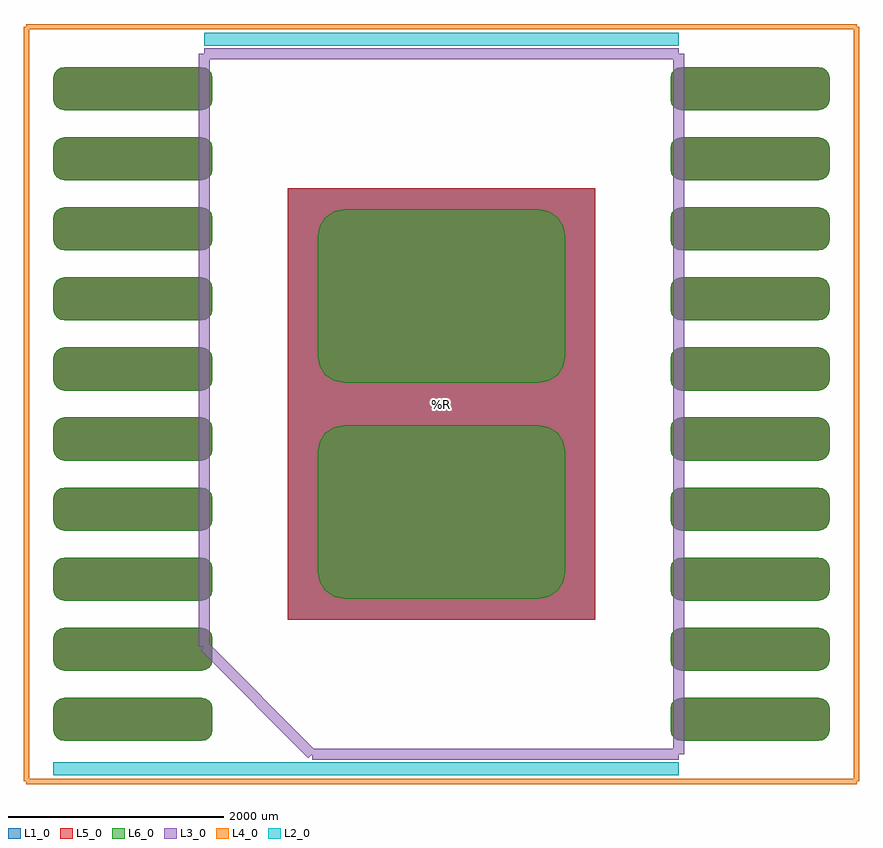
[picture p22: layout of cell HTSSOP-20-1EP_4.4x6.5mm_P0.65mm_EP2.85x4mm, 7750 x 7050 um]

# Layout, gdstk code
import gdstk
lib = gdstk.Library(unit=1e-6, precision=1e-09)
def R(c, l, rs):  # rectangles x0, y0, x1, y1
    for r in rs: c.add(gdstk.rectangle(r[:2], r[2:], *l))
def P(c, l, *ps):  # polygons
    for p in ps: c.add(gdstk.Polygon(p, *l))
L1_0 = (1, 0)
L2_0 = (2, 0)
L3_0 = (3, 0)
L4_0 = (4, 0)
L5_0 = (5, 0)
L6_0 = (6, 0)

htssop_20_1ep_4_4x6_5mm_ = lib.new_cell('HTSSOP-20-1EP_4.4x6.5mm_P0.65mm_EP2.85x4mm')
R(htssop_20_1ep_4_4x6_5mm_, L1_0, [(-1425,-2000,1425,2000)])
P(htssop_20_1ep_4_4x6_5mm_, L1_0, [(-2225,-3125),(-2187,-3117),(-2154,-3096),(-2133,-3063),(-2125,-3025),(-2125,-2825),(-2133,-2787),(-2154,-2754),(-2187,-2733),(-2225,-2725),(-3500,-2725),(-3538,-2733),(-3571,-2754),(-3592,-2787),(-3600,-2825),(-3600,-3025),(-3592,-3063),(-3571,-3096),(-3538,-3117),(-3500,-3125)],
  [(-2225,-2475),(-2187,-2467),(-2154,-2446),(-2133,-2413),(-2125,-2375),(-2125,-2175),(-2133,-2137),(-2154,-2104),(-2187,-2083),(-2225,-2075),(-3500,-2075),(-3538,-2083),(-3571,-2104),(-3592,-2137),(-3600,-2175),(-3600,-2375),(-3592,-2413),(-3571,-2446),(-3538,-2467),(-3500,-2475)],
  [(-2225,-1825),(-2187,-1817),(-2154,-1796),(-2133,-1763),(-2125,-1725),(-2125,-1525),(-2133,-1487),(-2154,-1454),(-2187,-1433),(-2225,-1425),(-3500,-1425),(-3538,-1433),(-3571,-1454),(-3592,-1487),(-3600,-1525),(-3600,-1725),(-3592,-1763),(-3571,-1796),(-3538,-1817),(-3500,-1825)],
  [(-2225,-1175),(-2187,-1167),(-2154,-1146),(-2133,-1113),(-2125,-1075),(-2125,-875),(-2133,-837),(-2154,-804),(-2187,-783),(-2225,-775),(-3500,-775),(-3538,-783),(-3571,-804),(-3592,-837),(-3600,-875),(-3600,-1075),(-3592,-1113),(-3571,-1146),(-3538,-1167),(-3500,-1175)],
  [(-2225,-525),(-2187,-517),(-2154,-496),(-2133,-463),(-2125,-425),(-2125,-225),(-2133,-187),(-2154,-154),(-2187,-133),(-2225,-125),(-3500,-125),(-3538,-133),(-3571,-154),(-3592,-187),(-3600,-225),(-3600,-425),(-3592,-463),(-3571,-496),(-3538,-517),(-3500,-525)],
  [(-2225,125),(-2187,133),(-2154,154),(-2133,187),(-2125,225),(-2125,425),(-2133,463),(-2154,496),(-2187,517),(-2225,525),(-3500,525),(-3538,517),(-3571,496),(-3592,463),(-3600,425),(-3600,225),(-3592,187),(-3571,154),(-3538,133),(-3500,125)],
  [(-2225,775),(-2187,783),(-2154,804),(-2133,837),(-2125,875),(-2125,1075),(-2133,1113),(-2154,1146),(-2187,1167),(-2225,1175),(-3500,1175),(-3538,1167),(-3571,1146),(-3592,1113),(-3600,1075),(-3600,875),(-3592,837),(-3571,804),(-3538,783),(-3500,775)],
  [(-2225,1425),(-2187,1433),(-2154,1454),(-2133,1487),(-2125,1525),(-2125,1725),(-2133,1763),(-2154,1796),(-2187,1817),(-2225,1825),(-3500,1825),(-3538,1817),(-3571,1796),(-3592,1763),(-3600,1725),(-3600,1525),(-3592,1487),(-3571,1454),(-3538,1433),(-3500,1425)],
  [(-2225,2075),(-2187,2083),(-2154,2104),(-2133,2137),(-2125,2175),(-2125,2375),(-2133,2413),(-2154,2446),(-2187,2467),(-2225,2475),(-3500,2475),(-3538,2467),(-3571,2446),(-3592,2413),(-3600,2375),(-3600,2175),(-3592,2137),(-3571,2104),(-3538,2083),(-3500,2075)],
  [(-2225,2725),(-2187,2733),(-2154,2754),(-2133,2787),(-2125,2825),(-2125,3025),(-2133,3063),(-2154,3096),(-2187,3117),(-2225,3125),(-3500,3125),(-3538,3117),(-3571,3096),(-3592,3063),(-3600,3025),(-3600,2825),(-3592,2787),(-3571,2754),(-3538,2733),(-3500,2725)],
  [(3500,2725),(3538,2733),(3571,2754),(3592,2787),(3600,2825),(3600,3025),(3592,3063),(3571,3096),(3538,3117),(3500,3125),(2225,3125),(2187,3117),(2154,3096),(2133,3063),(2125,3025),(2125,2825),(2133,2787),(2154,2754),(2187,2733),(2225,2725)],
  [(3500,2075),(3538,2083),(3571,2104),(3592,2137),(3600,2175),(3600,2375),(3592,2413),(3571,2446),(3538,2467),(3500,2475),(2225,2475),(2187,2467),(2154,2446),(2133,2413),(2125,2375),(2125,2175),(2133,2137),(2154,2104),(2187,2083),(2225,2075)],
  [(3500,1425),(3538,1433),(3571,1454),(3592,1487),(3600,1525),(3600,1725),(3592,1763),(3571,1796),(3538,1817),(3500,1825),(2225,1825),(2187,1817),(2154,1796),(2133,1763),(2125,1725),(2125,1525),(2133,1487),(2154,1454),(2187,1433),(2225,1425)],
  [(3500,775),(3538,783),(3571,804),(3592,837),(3600,875),(3600,1075),(3592,1113),(3571,1146),(3538,1167),(3500,1175),(2225,1175),(2187,1167),(2154,1146),(2133,1113),(2125,1075),(2125,875),(2133,837),(2154,804),(2187,783),(2225,775)],
  [(3500,125),(3538,133),(3571,154),(3592,187),(3600,225),(3600,425),(3592,463),(3571,496),(3538,517),(3500,525),(2225,525),(2187,517),(2154,496),(2133,463),(2125,425),(2125,225),(2133,187),(2154,154),(2187,133),(2225,125)],
  [(3500,-525),(3538,-517),(3571,-496),(3592,-463),(3600,-425),(3600,-225),(3592,-187),(3571,-154),(3538,-133),(3500,-125),(2225,-125),(2187,-133),(2154,-154),(2133,-187),(2125,-225),(2125,-425),(2133,-463),(2154,-496),(2187,-517),(2225,-525)],
  [(3500,-1175),(3538,-1167),(3571,-1146),(3592,-1113),(3600,-1075),(3600,-875),(3592,-837),(3571,-804),(3538,-783),(3500,-775),(2225,-775),(2187,-783),(2154,-804),(2133,-837),(2125,-875),(2125,-1075),(2133,-1113),(2154,-1146),(2187,-1167),(2225,-1175)],
  [(3500,-1825),(3538,-1817),(3571,-1796),(3592,-1763),(3600,-1725),(3600,-1525),(3592,-1487),(3571,-1454),(3538,-1433),(3500,-1425),(2225,-1425),(2187,-1433),(2154,-1454),(2133,-1487),(2125,-1525),(2125,-1725),(2133,-1763),(2154,-1796),(2187,-1817),(2225,-1825)],
  [(3500,-2475),(3538,-2467),(3571,-2446),(3592,-2413),(3600,-2375),(3600,-2175),(3592,-2137),(3571,-2104),(3538,-2083),(3500,-2075),(2225,-2075),(2187,-2083),(2154,-2104),(2133,-2137),(2125,-2175),(2125,-2375),(2133,-2413),(2154,-2446),(2187,-2467),(2225,-2475)],
  [(3500,-3125),(3538,-3117),(3571,-3096),(3592,-3063),(3600,-3025),(3600,-2825),(3592,-2787),(3571,-2754),(3538,-2733),(3500,-2725),(2225,-2725),(2187,-2733),(2154,-2754),(2133,-2787),(2125,-2825),(2125,-3025),(2133,-3063),(2154,-3096),(2187,-3117),(2225,-3125)])
R(htssop_20_1ep_4_4x6_5mm_, L5_0, [(-1425,-2000,1425,2000)])
P(htssop_20_1ep_4_4x6_5mm_, L5_0, [(-2225,-3125),(-2187,-3117),(-2154,-3096),(-2133,-3063),(-2125,-3025),(-2125,-2825),(-2133,-2787),(-2154,-2754),(-2187,-2733),(-2225,-2725),(-3500,-2725),(-3538,-2733),(-3571,-2754),(-3592,-2787),(-3600,-2825),(-3600,-3025),(-3592,-3063),(-3571,-3096),(-3538,-3117),(-3500,-3125)],
  [(-2225,-2475),(-2187,-2467),(-2154,-2446),(-2133,-2413),(-2125,-2375),(-2125,-2175),(-2133,-2137),(-2154,-2104),(-2187,-2083),(-2225,-2075),(-3500,-2075),(-3538,-2083),(-3571,-2104),(-3592,-2137),(-3600,-2175),(-3600,-2375),(-3592,-2413),(-3571,-2446),(-3538,-2467),(-3500,-2475)],
  [(-2225,-1825),(-2187,-1817),(-2154,-1796),(-2133,-1763),(-2125,-1725),(-2125,-1525),(-2133,-1487),(-2154,-1454),(-2187,-1433),(-2225,-1425),(-3500,-1425),(-3538,-1433),(-3571,-1454),(-3592,-1487),(-3600,-1525),(-3600,-1725),(-3592,-1763),(-3571,-1796),(-3538,-1817),(-3500,-1825)],
  [(-2225,-1175),(-2187,-1167),(-2154,-1146),(-2133,-1113),(-2125,-1075),(-2125,-875),(-2133,-837),(-2154,-804),(-2187,-783),(-2225,-775),(-3500,-775),(-3538,-783),(-3571,-804),(-3592,-837),(-3600,-875),(-3600,-1075),(-3592,-1113),(-3571,-1146),(-3538,-1167),(-3500,-1175)],
  [(-2225,-525),(-2187,-517),(-2154,-496),(-2133,-463),(-2125,-425),(-2125,-225),(-2133,-187),(-2154,-154),(-2187,-133),(-2225,-125),(-3500,-125),(-3538,-133),(-3571,-154),(-3592,-187),(-3600,-225),(-3600,-425),(-3592,-463),(-3571,-496),(-3538,-517),(-3500,-525)],
  [(-2225,125),(-2187,133),(-2154,154),(-2133,187),(-2125,225),(-2125,425),(-2133,463),(-2154,496),(-2187,517),(-2225,525),(-3500,525),(-3538,517),(-3571,496),(-3592,463),(-3600,425),(-3600,225),(-3592,187),(-3571,154),(-3538,133),(-3500,125)],
  [(-2225,775),(-2187,783),(-2154,804),(-2133,837),(-2125,875),(-2125,1075),(-2133,1113),(-2154,1146),(-2187,1167),(-2225,1175),(-3500,1175),(-3538,1167),(-3571,1146),(-3592,1113),(-3600,1075),(-3600,875),(-3592,837),(-3571,804),(-3538,783),(-3500,775)],
  [(-2225,1425),(-2187,1433),(-2154,1454),(-2133,1487),(-2125,1525),(-2125,1725),(-2133,1763),(-2154,1796),(-2187,1817),(-2225,1825),(-3500,1825),(-3538,1817),(-3571,1796),(-3592,1763),(-3600,1725),(-3600,1525),(-3592,1487),(-3571,1454),(-3538,1433),(-3500,1425)],
  [(-2225,2075),(-2187,2083),(-2154,2104),(-2133,2137),(-2125,2175),(-2125,2375),(-2133,2413),(-2154,2446),(-2187,2467),(-2225,2475),(-3500,2475),(-3538,2467),(-3571,2446),(-3592,2413),(-3600,2375),(-3600,2175),(-3592,2137),(-3571,2104),(-3538,2083),(-3500,2075)],
  [(-2225,2725),(-2187,2733),(-2154,2754),(-2133,2787),(-2125,2825),(-2125,3025),(-2133,3063),(-2154,3096),(-2187,3117),(-2225,3125),(-3500,3125),(-3538,3117),(-3571,3096),(-3592,3063),(-3600,3025),(-3600,2825),(-3592,2787),(-3571,2754),(-3538,2733),(-3500,2725)],
  [(3500,2725),(3538,2733),(3571,2754),(3592,2787),(3600,2825),(3600,3025),(3592,3063),(3571,3096),(3538,3117),(3500,3125),(2225,3125),(2187,3117),(2154,3096),(2133,3063),(2125,3025),(2125,2825),(2133,2787),(2154,2754),(2187,2733),(2225,2725)],
  [(3500,2075),(3538,2083),(3571,2104),(3592,2137),(3600,2175),(3600,2375),(3592,2413),(3571,2446),(3538,2467),(3500,2475),(2225,2475),(2187,2467),(2154,2446),(2133,2413),(2125,2375),(2125,2175),(2133,2137),(2154,2104),(2187,2083),(2225,2075)],
  [(3500,1425),(3538,1433),(3571,1454),(3592,1487),(3600,1525),(3600,1725),(3592,1763),(3571,1796),(3538,1817),(3500,1825),(2225,1825),(2187,1817),(2154,1796),(2133,1763),(2125,1725),(2125,1525),(2133,1487),(2154,1454),(2187,1433),(2225,1425)],
  [(3500,775),(3538,783),(3571,804),(3592,837),(3600,875),(3600,1075),(3592,1113),(3571,1146),(3538,1167),(3500,1175),(2225,1175),(2187,1167),(2154,1146),(2133,1113),(2125,1075),(2125,875),(2133,837),(2154,804),(2187,783),(2225,775)],
  [(3500,125),(3538,133),(3571,154),(3592,187),(3600,225),(3600,425),(3592,463),(3571,496),(3538,517),(3500,525),(2225,525),(2187,517),(2154,496),(2133,463),(2125,425),(2125,225),(2133,187),(2154,154),(2187,133),(2225,125)],
  [(3500,-525),(3538,-517),(3571,-496),(3592,-463),(3600,-425),(3600,-225),(3592,-187),(3571,-154),(3538,-133),(3500,-125),(2225,-125),(2187,-133),(2154,-154),(2133,-187),(2125,-225),(2125,-425),(2133,-463),(2154,-496),(2187,-517),(2225,-525)],
  [(3500,-1175),(3538,-1167),(3571,-1146),(3592,-1113),(3600,-1075),(3600,-875),(3592,-837),(3571,-804),(3538,-783),(3500,-775),(2225,-775),(2187,-783),(2154,-804),(2133,-837),(2125,-875),(2125,-1075),(2133,-1113),(2154,-1146),(2187,-1167),(2225,-1175)],
  [(3500,-1825),(3538,-1817),(3571,-1796),(3592,-1763),(3600,-1725),(3600,-1525),(3592,-1487),(3571,-1454),(3538,-1433),(3500,-1425),(2225,-1425),(2187,-1433),(2154,-1454),(2133,-1487),(2125,-1525),(2125,-1725),(2133,-1763),(2154,-1796),(2187,-1817),(2225,-1825)],
  [(3500,-2475),(3538,-2467),(3571,-2446),(3592,-2413),(3600,-2375),(3600,-2175),(3592,-2137),(3571,-2104),(3538,-2083),(3500,-2075),(2225,-2075),(2187,-2083),(2154,-2104),(2133,-2137),(2125,-2175),(2125,-2375),(2133,-2413),(2154,-2446),(2187,-2467),(2225,-2475)],
  [(3500,-3125),(3538,-3117),(3571,-3096),(3592,-3063),(3600,-3025),(3600,-2825),(3592,-2787),(3571,-2754),(3538,-2733),(3500,-2725),(2225,-2725),(2187,-2733),(2154,-2754),(2133,-2787),(2125,-2825),(2125,-3025),(2133,-3063),(2154,-3096),(2187,-3117),(2225,-3125)])
P(htssop_20_1ep_4_4x6_5mm_, L6_0, [(-2225,-3125),(-2187,-3117),(-2154,-3096),(-2133,-3063),(-2125,-3025),(-2125,-2825),(-2133,-2787),(-2154,-2754),(-2187,-2733),(-2225,-2725),(-3500,-2725),(-3538,-2733),(-3571,-2754),(-3592,-2787),(-3600,-2825),(-3600,-3025),(-3592,-3063),(-3571,-3096),(-3538,-3117),(-3500,-3125)],
  [(-2225,-2475),(-2187,-2467),(-2154,-2446),(-2133,-2413),(-2125,-2375),(-2125,-2175),(-2133,-2137),(-2154,-2104),(-2187,-2083),(-2225,-2075),(-3500,-2075),(-3538,-2083),(-3571,-2104),(-3592,-2137),(-3600,-2175),(-3600,-2375),(-3592,-2413),(-3571,-2446),(-3538,-2467),(-3500,-2475)],
  [(-2225,-1825),(-2187,-1817),(-2154,-1796),(-2133,-1763),(-2125,-1725),(-2125,-1525),(-2133,-1487),(-2154,-1454),(-2187,-1433),(-2225,-1425),(-3500,-1425),(-3538,-1433),(-3571,-1454),(-3592,-1487),(-3600,-1525),(-3600,-1725),(-3592,-1763),(-3571,-1796),(-3538,-1817),(-3500,-1825)],
  [(-2225,-1175),(-2187,-1167),(-2154,-1146),(-2133,-1113),(-2125,-1075),(-2125,-875),(-2133,-837),(-2154,-804),(-2187,-783),(-2225,-775),(-3500,-775),(-3538,-783),(-3571,-804),(-3592,-837),(-3600,-875),(-3600,-1075),(-3592,-1113),(-3571,-1146),(-3538,-1167),(-3500,-1175)],
  [(-2225,-525),(-2187,-517),(-2154,-496),(-2133,-463),(-2125,-425),(-2125,-225),(-2133,-187),(-2154,-154),(-2187,-133),(-2225,-125),(-3500,-125),(-3538,-133),(-3571,-154),(-3592,-187),(-3600,-225),(-3600,-425),(-3592,-463),(-3571,-496),(-3538,-517),(-3500,-525)],
  [(-2225,125),(-2187,133),(-2154,154),(-2133,187),(-2125,225),(-2125,425),(-2133,463),(-2154,496),(-2187,517),(-2225,525),(-3500,525),(-3538,517),(-3571,496),(-3592,463),(-3600,425),(-3600,225),(-3592,187),(-3571,154),(-3538,133),(-3500,125)],
  [(-2225,775),(-2187,783),(-2154,804),(-2133,837),(-2125,875),(-2125,1075),(-2133,1113),(-2154,1146),(-2187,1167),(-2225,1175),(-3500,1175),(-3538,1167),(-3571,1146),(-3592,1113),(-3600,1075),(-3600,875),(-3592,837),(-3571,804),(-3538,783),(-3500,775)],
  [(-2225,1425),(-2187,1433),(-2154,1454),(-2133,1487),(-2125,1525),(-2125,1725),(-2133,1763),(-2154,1796),(-2187,1817),(-2225,1825),(-3500,1825),(-3538,1817),(-3571,1796),(-3592,1763),(-3600,1725),(-3600,1525),(-3592,1487),(-3571,1454),(-3538,1433),(-3500,1425)],
  [(-2225,2075),(-2187,2083),(-2154,2104),(-2133,2137),(-2125,2175),(-2125,2375),(-2133,2413),(-2154,2446),(-2187,2467),(-2225,2475),(-3500,2475),(-3538,2467),(-3571,2446),(-3592,2413),(-3600,2375),(-3600,2175),(-3592,2137),(-3571,2104),(-3538,2083),(-3500,2075)],
  [(-2225,2725),(-2187,2733),(-2154,2754),(-2133,2787),(-2125,2825),(-2125,3025),(-2133,3063),(-2154,3096),(-2187,3117),(-2225,3125),(-3500,3125),(-3538,3117),(-3571,3096),(-3592,3063),(-3600,3025),(-3600,2825),(-3592,2787),(-3571,2754),(-3538,2733),(-3500,2725)],
  [(3500,2725),(3538,2733),(3571,2754),(3592,2787),(3600,2825),(3600,3025),(3592,3063),(3571,3096),(3538,3117),(3500,3125),(2225,3125),(2187,3117),(2154,3096),(2133,3063),(2125,3025),(2125,2825),(2133,2787),(2154,2754),(2187,2733),(2225,2725)],
  [(3500,2075),(3538,2083),(3571,2104),(3592,2137),(3600,2175),(3600,2375),(3592,2413),(3571,2446),(3538,2467),(3500,2475),(2225,2475),(2187,2467),(2154,2446),(2133,2413),(2125,2375),(2125,2175),(2133,2137),(2154,2104),(2187,2083),(2225,2075)],
  [(3500,1425),(3538,1433),(3571,1454),(3592,1487),(3600,1525),(3600,1725),(3592,1763),(3571,1796),(3538,1817),(3500,1825),(2225,1825),(2187,1817),(2154,1796),(2133,1763),(2125,1725),(2125,1525),(2133,1487),(2154,1454),(2187,1433),(2225,1425)],
  [(3500,775),(3538,783),(3571,804),(3592,837),(3600,875),(3600,1075),(3592,1113),(3571,1146),(3538,1167),(3500,1175),(2225,1175),(2187,1167),(2154,1146),(2133,1113),(2125,1075),(2125,875),(2133,837),(2154,804),(2187,783),(2225,775)],
  [(3500,125),(3538,133),(3571,154),(3592,187),(3600,225),(3600,425),(3592,463),(3571,496),(3538,517),(3500,525),(2225,525),(2187,517),(2154,496),(2133,463),(2125,425),(2125,225),(2133,187),(2154,154),(2187,133),(2225,125)],
  [(3500,-525),(3538,-517),(3571,-496),(3592,-463),(3600,-425),(3600,-225),(3592,-187),(3571,-154),(3538,-133),(3500,-125),(2225,-125),(2187,-133),(2154,-154),(2133,-187),(2125,-225),(2125,-425),(2133,-463),(2154,-496),(2187,-517),(2225,-525)],
  [(3500,-1175),(3538,-1167),(3571,-1146),(3592,-1113),(3600,-1075),(3600,-875),(3592,-837),(3571,-804),(3538,-783),(3500,-775),(2225,-775),(2187,-783),(2154,-804),(2133,-837),(2125,-875),(2125,-1075),(2133,-1113),(2154,-1146),(2187,-1167),(2225,-1175)],
  [(3500,-1825),(3538,-1817),(3571,-1796),(3592,-1763),(3600,-1725),(3600,-1525),(3592,-1487),(3571,-1454),(3538,-1433),(3500,-1425),(2225,-1425),(2187,-1433),(2154,-1454),(2133,-1487),(2125,-1525),(2125,-1725),(2133,-1763),(2154,-1796),(2187,-1817),(2225,-1825)],
  [(3500,-2475),(3538,-2467),(3571,-2446),(3592,-2413),(3600,-2375),(3600,-2175),(3592,-2137),(3571,-2104),(3538,-2083),(3500,-2075),(2225,-2075),(2187,-2083),(2154,-2104),(2133,-2137),(2125,-2175),(2125,-2375),(2133,-2413),(2154,-2446),(2187,-2467),(2225,-2475)],
  [(3500,-3125),(3538,-3117),(3571,-3096),(3592,-3063),(3600,-3025),(3600,-2825),(3592,-2787),(3571,-2754),(3538,-2733),(3500,-2725),(2225,-2725),(2187,-2733),(2154,-2754),(2133,-2787),(2125,-2825),(2125,-3025),(2133,-3063),(2154,-3096),(2187,-3117),(2225,-3125)],
  [(900,-1805),(996,-1786),(1077,-1732),(1131,-1651),(1150,-1555),(1150,-445),(1131,-349),(1077,-268),(996,-214),(900,-195),(-900,-195),(-996,-214),(-1077,-268),(-1131,-349),(-1150,-445),(-1150,-1555),(-1131,-1651),(-1077,-1732),(-996,-1786),(-900,-1805)],
  [(900,195),(996,214),(1077,268),(1131,349),(1150,445),(1150,1555),(1131,1651),(1077,1732),(996,1786),(900,1805),(-900,1805),(-996,1786),(-1077,1732),(-1131,1651),(-1150,1555),(-1150,445),(-1131,349),(-1077,268),(-996,214),(-900,195)])
htssop_20_1ep_4_4x6_5mm_.add(gdstk.FlexPath([(0,3385),(2200,3385)], 120, ends="flush", simple_path=True, layer=2, datatype=0))  # L2_0
htssop_20_1ep_4_4x6_5mm_.add(gdstk.FlexPath([(0,3385),(-2200,3385)], 120, ends="flush", simple_path=True, layer=2, datatype=0))  # L2_0
htssop_20_1ep_4_4x6_5mm_.add(gdstk.FlexPath([(0,-3385),(2200,-3385)], 120, ends="flush", simple_path=True, layer=2, datatype=0))  # L2_0
htssop_20_1ep_4_4x6_5mm_.add(gdstk.FlexPath([(0,-3385),(-3600,-3385)], 120, ends="flush", simple_path=True, layer=2, datatype=0))  # L2_0
htssop_20_1ep_4_4x6_5mm_.add(gdstk.FlexPath([(-1200,-3250),(2200,-3250)], 100, ends="flush", simple_path=True, layer=3, datatype=0))  # L3_0
htssop_20_1ep_4_4x6_5mm_.add(gdstk.FlexPath([(2200,-3250),(2200,3250)], 100, ends="flush", simple_path=True, layer=3, datatype=0))  # L3_0
htssop_20_1ep_4_4x6_5mm_.add(gdstk.FlexPath([(2200,3250),(-2200,3250)], 100, ends="flush", simple_path=True, layer=3, datatype=0))  # L3_0
htssop_20_1ep_4_4x6_5mm_.add(gdstk.FlexPath([(-2200,3250),(-2200,-2250)], 100, ends="flush", simple_path=True, layer=3, datatype=0))  # L3_0
htssop_20_1ep_4_4x6_5mm_.add(gdstk.FlexPath([(-2200,-2250),(-1200,-3250)], 100, ends="flush", simple_path=True, layer=3, datatype=0))  # L3_0
htssop_20_1ep_4_4x6_5mm_.add(gdstk.FlexPath([(-3850,-3500),(-3850,3500)], 50, ends="flush", simple_path=True, layer=4, datatype=0))  # L4_0
htssop_20_1ep_4_4x6_5mm_.add(gdstk.FlexPath([(-3850,3500),(3850,3500)], 50, ends="flush", simple_path=True, layer=4, datatype=0))  # L4_0
htssop_20_1ep_4_4x6_5mm_.add(gdstk.FlexPath([(3850,3500),(3850,-3500)], 50, ends="flush", simple_path=True, layer=4, datatype=0))  # L4_0
htssop_20_1ep_4_4x6_5mm_.add(gdstk.FlexPath([(3850,-3500),(-3850,-3500)], 50, ends="flush", simple_path=True, layer=4, datatype=0))  # L4_0
htssop_20_1ep_4_4x6_5mm_.add(gdstk.Label('REF**', (0,-4200), layer=2, texttype=0))
htssop_20_1ep_4_4x6_5mm_.add(gdstk.Label('HTSSOP-20-1EP_4.4x6.5mm_P0.65mm_EP2.85x4mm', (0,4200), layer=3, texttype=0))
htssop_20_1ep_4_4x6_5mm_.add(gdstk.Label('%R', (0,0), layer=3, texttype=0))

lib.write_gds('HTSSOP-20-1EP_4.4x6.5mm_P0.65mm_EP2.85x4mm.gds')
